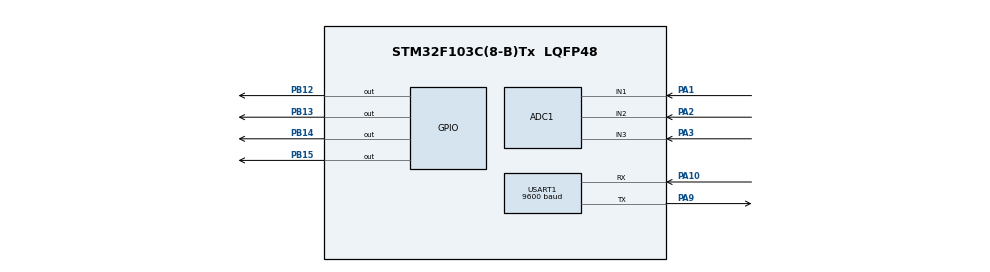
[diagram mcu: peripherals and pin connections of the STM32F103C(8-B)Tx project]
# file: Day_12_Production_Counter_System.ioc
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ADC1.Channel-0\#ChannelRegularConversion=ADC_CHANNEL_1
ADC1.NbrOfConversionFlag=1
ADC1.Rank-0\#ChannelRegularConversion=1
ADC1.SamplingTime-0\#ChannelRegularConversion=ADC_SAMPLETIME_1CYCLE_5
ADC1.master=1
Mcu.Family=STM32F1
Mcu.Name=STM32F103C(8-B)Tx
Mcu.Package=LQFP48
NVIC.PriorityGroup=NVIC_PRIORITYGROUP_4
PA1.Signal=ADCx_IN1
PA10.Mode=Asynchronous
PA10.Signal=USART1_RX
PA2.Signal=ADCx_IN2
PA3.Signal=ADCx_IN3
PA9.Mode=Asynchronous
PA9.Signal=USART1_TX
PB12.Signal=GPIO_Output
PB13.Signal=GPIO_Output
PB14.Signal=GPIO_Output
PB15.Signal=GPIO_Output
ProjectManager.HeapSize=0x200
ProjectManager.StackSize=0x400
ProjectManager.TargetToolchain=STM32CubeIDE
RCC.APB1Freq_Value=8000000
RCC.APB2Freq_Value=8000000
SH.ADCx_IN1.0=ADC1_IN1,IN1
SH.ADCx_IN2.0=ADC1_IN2,IN2
SH.ADCx_IN3.0=ADC1_IN3,IN3
USART1.BaudRate=9600
USART1.VirtualMode=VM_ASYNC
VP_SYS_VS_ND.Mode=No_Debug
board=custom

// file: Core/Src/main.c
/* USER CODE BEGIN Header */
/**
  ******************************************************************************
  * @file           : main.c
  * @brief          : Main program body
  ******************************************************************************
  * @attention
  *
  * Copyright (c) 2026 STMicroelectronics.
  * All rights reserved.
  *
  * This software is licensed under terms that can be found in the LICENSE file
  * in the root directory of this software component.
  * If no LICENSE file comes with this software, it is provided AS-IS.
  *
  ******************************************************************************
  */
/* USER CODE END Header */
#include "main.h"
#include <stdio.h>
#include <string.h>

ADC_HandleTypeDef hadc1;

UART_HandleTypeDef huart1;

/* USER CODE BEGIN PV */
uint32_t total_products = 0;
uint32_t good_products = 0;
uint32_t rejected_products = 0;

uint32_t product_sensor = 0;
uint32_t quality_sensor = 0;
uint32_t load_sensor = 0;

float efficiency = 0.0f;

char uart_buffer[300];

/* USER CODE END PV */

void SystemClock_Config(void);
static void MX_GPIO_Init(void);
static void MX_ADC1_Init(void);
static void MX_USART1_UART_Init(void);
/* USER CODE BEGIN PFP */
uint32_t Read_ADC(uint32_t channel);
void Count_Products(void);
void Send_Report(void);

/* USER CODE END PFP */

int main(void)
{

  /* MCU Configuration--------------------------------------------------------*/

  /* Reset of all peripherals, Initializes the Flash interface and the Systick. */
  HAL_Init();

  /* Configure the system clock */
  SystemClock_Config();

  /* Initialize all configured peripherals */
  MX_GPIO_Init();
  MX_ADC1_Init();
  MX_USART1_UART_Init();
  /* USER CODE BEGIN 2 */
  HAL_ADCEx_Calibration_Start(&hadc1);

  /* USER CODE END 2 */

  /* Infinite loop */
  /* USER CODE BEGIN WHILE */
  while (1)
  {
      product_sensor =
          (Read_ADC(ADC_CHANNEL_1) * 100) / 4095;

      quality_sensor =
          (Read_ADC(ADC_CHANNEL_2) * 100) / 4095;

      load_sensor =
          (Read_ADC(ADC_CHANNEL_3) * 100) / 4095;

      Count_Products();

      if(total_products > 0)
      {
          efficiency =
              ((float)good_products * 100) /
              total_products;
      }

      Send_Report();

      HAL_Delay(1000);
  }
  /* USER CODE END 3 */
}

void SystemClock_Config(void)
{
  RCC_OscInitTypeDef RCC_OscInitStruct = {0};
  RCC_ClkInitTypeDef RCC_ClkInitStruct = {0};
  RCC_PeriphCLKInitTypeDef PeriphClkInit = {0};

  /** Initializes the RCC Oscillators according to the specified parameters
  * in the RCC_OscInitTypeDef structure.
  */
  RCC_OscInitStruct.OscillatorType = RCC_OSCILLATORTYPE_HSI;
  RCC_OscInitStruct.HSIState = RCC_HSI_ON;
  RCC_OscInitStruct.HSICalibrationValue = RCC_HSICALIBRATION_DEFAULT;
  RCC_OscInitStruct.PLL.PLLState = RCC_PLL_NONE;
  if (HAL_RCC_OscConfig(&RCC_OscInitStruct) != HAL_OK)
  {
    Error_Handler();
  }

  /** Initializes the CPU, AHB and APB buses clocks
  */
  RCC_ClkInitStruct.ClockType = RCC_CLOCKTYPE_HCLK|RCC_CLOCKTYPE_SYSCLK
                              |RCC_CLOCKTYPE_PCLK1|RCC_CLOCKTYPE_PCLK2;
  RCC_ClkInitStruct.SYSCLKSource = RCC_SYSCLKSOURCE_HSI;
  RCC_ClkInitStruct.AHBCLKDivider = RCC_SYSCLK_DIV1;
  RCC_ClkInitStruct.APB1CLKDivider = RCC_HCLK_DIV1;
  RCC_ClkInitStruct.APB2CLKDivider = RCC_HCLK_DIV1;

  if (HAL_RCC_ClockConfig(&RCC_ClkInitStruct, FLASH_LATENCY_0) != HAL_OK)
  {
    Error_Handler();
  }
  PeriphClkInit.PeriphClockSelection = RCC_PERIPHCLK_ADC;
  PeriphClkInit.AdcClockSelection = RCC_ADCPCLK2_DIV2;
  if (HAL_RCCEx_PeriphCLKConfig(&PeriphClkInit) != HAL_OK)
  {
    Error_Handler();
  }
}

static void MX_ADC1_Init(void)
{

  ADC_ChannelConfTypeDef sConfig = {0};

  /** Common config
  */
  hadc1.Instance = ADC1;
  hadc1.Init.ScanConvMode = ADC_SCAN_DISABLE;
  hadc1.Init.ContinuousConvMode = DISABLE;
  hadc1.Init.DiscontinuousConvMode = DISABLE;
  hadc1.Init.ExternalTrigConv = ADC_SOFTWARE_START;
  hadc1.Init.DataAlign = ADC_DATAALIGN_RIGHT;
  hadc1.Init.NbrOfConversion = 1;
  if (HAL_ADC_Init(&hadc1) != HAL_OK)
  {
    Error_Handler();
  }

  /** Configure Regular Channel
  */
  sConfig.Channel = ADC_CHANNEL_1;
  sConfig.Rank = ADC_REGULAR_RANK_1;
  sConfig.SamplingTime = ADC_SAMPLETIME_1CYCLE_5;
  if (HAL_ADC_ConfigChannel(&hadc1, &sConfig) != HAL_OK)
  {
    Error_Handler();
  }

}

static void MX_USART1_UART_Init(void)
{

  huart1.Instance = USART1;
  huart1.Init.BaudRate = 9600;
  huart1.Init.WordLength = UART_WORDLENGTH_8B;
  huart1.Init.StopBits = UART_STOPBITS_1;
  huart1.Init.Parity = UART_PARITY_NONE;
  huart1.Init.Mode = UART_MODE_TX_RX;
  huart1.Init.HwFlowCtl = UART_HWCONTROL_NONE;
  huart1.Init.OverSampling = UART_OVERSAMPLING_16;
  if (HAL_UART_Init(&huart1) != HAL_OK)
  {
    Error_Handler();
  }

}

static void MX_GPIO_Init(void)
{
  GPIO_InitTypeDef GPIO_InitStruct = {0};

  /* GPIO Ports Clock Enable */
  __HAL_RCC_GPIOA_CLK_ENABLE();
  __HAL_RCC_GPIOB_CLK_ENABLE();

  /*Configure GPIO pin Output Level */
  HAL_GPIO_WritePin(GPIOB, GPIO_PIN_12|GPIO_PIN_13|GPIO_PIN_14|GPIO_PIN_15, GPIO_PIN_RESET);

  /*Configure GPIO pins : PB12 PB13 PB14 PB15 */
  GPIO_InitStruct.Pin = GPIO_PIN_12|GPIO_PIN_13|GPIO_PIN_14|GPIO_PIN_15;
  GPIO_InitStruct.Mode = GPIO_MODE_OUTPUT_PP;
  GPIO_InitStruct.Pull = GPIO_NOPULL;
  GPIO_InitStruct.Speed = GPIO_SPEED_FREQ_LOW;
  HAL_GPIO_Init(GPIOB, &GPIO_InitStruct);

}

/* USER CODE BEGIN 4 */
uint32_t Read_ADC(uint32_t channel)
{
    ADC_ChannelConfTypeDef sConfig = {0};

    sConfig.Channel = channel;
    sConfig.Rank = ADC_REGULAR_RANK_1;
    sConfig.SamplingTime = ADC_SAMPLETIME_71CYCLES_5;

    HAL_ADC_ConfigChannel(&hadc1, &sConfig);

    HAL_ADC_Start(&hadc1);

    HAL_ADC_PollForConversion(&hadc1,
                              HAL_MAX_DELAY);

    return HAL_ADC_GetValue(&hadc1);
}

void Count_Products(void)
{
    if(product_sensor > 50)
    {
        total_products++;

        HAL_GPIO_WritePin(GPIOB,
                          GPIO_PIN_12,
                          GPIO_PIN_SET);

        if(quality_sensor > 60)
        {
            good_products++;

            HAL_GPIO_WritePin(GPIOB,
                              GPIO_PIN_13,
                              GPIO_PIN_SET);
        }
        else
        {
            rejected_products++;

            HAL_GPIO_WritePin(GPIOB,
                              GPIO_PIN_14,
                              GPIO_PIN_SET);
        }
    }
    else
    {
        HAL_GPIO_WritePin(GPIOB,
                          GPIO_PIN_12 |
                          GPIO_PIN_13 |
                          GPIO_PIN_14,
                          GPIO_PIN_RESET);
    }
}

void Send_Report(void)
{
    sprintf(uart_buffer,

"\r\n===== PRODUCTION DASHBOARD =====\r\n"
"Total Products : %lu\r\n"
"Good Products  : %lu\r\n"
"Rejected       : %lu\r\n"
"\r\n"
    		"Efficiency     : %d %%\r\n"
"Load Sensor    : %lu %%\r\n"
"===============================\r\n",

total_products,
good_products,
rejected_products,
(int)efficiency,
load_sensor);

    HAL_UART_Transmit(&huart1,
                      (uint8_t*)uart_buffer,
                      strlen(uart_buffer),
                      HAL_MAX_DELAY);
}

/* USER CODE END 4 */

void Error_Handler(void)
{
  __disable_irq();
  while (1)
  {
  }
}
